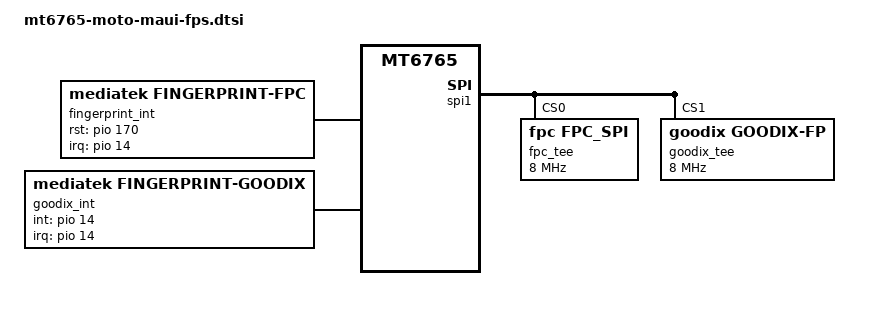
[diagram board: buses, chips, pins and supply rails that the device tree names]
&pio {
	fps_irq: fps_irq {
		pins_cmd_dat {
			pinmux = <PINMUX_GPIO14__FUNC_GPIO14>;
			slew-rate = <0>;
			bias-disable;
		};
	};

	fps_reset_high: fps_reset_high {
		pins_cmd_dat {
			pinmux = <PINMUX_GPIO170__FUNC_GPIO170>;
			slew-rate = <1>;
			output-high;
		};
	};

	fps_reset_low: fps_reset_low {
		pins_cmd_dat {
			pinmux = <PINMUX_GPIO170__FUNC_GPIO170>;
			slew-rate = <1>;
			output-low;
		};
	};
};

&odm {
	fingerprint_int: fingerprint_int {
		compatible = "mediatek,fingerprint-fpc";
		fpc,enable-wakeup;
		interrupt-parent = <&pio>;
		interrupts = <14 IRQ_TYPE_EDGE_RISING 14 0>;
		pinctrl-names = "fingerprint_irq", "fingerprint_reset_high", "fingerprint_reset_low";
		pinctrl-0 = <&fps_irq>;
		pinctrl-1 = <&fps_reset_high>;
		pinctrl-2 = <&fps_reset_low>;
		fpc,rst= <&pio 170 0>;
		fpc,irq = <&pio 14 0>;
		status = "okay";
	};

	goodix_int: goodix_int {
		compatible = "mediatek,fingerprint-goodix";
		interrupt-parent = <&pio>;
		interrupts = <14 IRQ_TYPE_EDGE_RISING 14 0>;
		pinctrl-names = "fingerprint_irq", "fingerprint_reset_high", "fingerprint_reset_low";
		pinctrl-0 = <&fps_irq>;
		pinctrl-1 = <&fps_reset_high>;
		pinctrl-2 = <&fps_reset_low>;
		int-gpios = <&pio 14 0>;
		status = "okay";
	};
};

&spi1 {
	#address-cells = <1>;
	#size-cells = <0>;
	mediatek,pad-select = <0>, <1>;
	tee-only;
	fpc_tee@0 {
		compatible = "fpc,fpc_spi";
		reg = <0>;
		fpc,enable-wakeup;
		spi-max-frequency = <8000000>;
		netlink-event = <31>;
		status = "okay";
	};

	goodix_tee@1 {
		status = "okay";
		compatible = "goodix,goodix-fp";
		reg = <1>;
		spi-max-frequency = <8000000>;
		netlink-event = <30>;
	};
};
